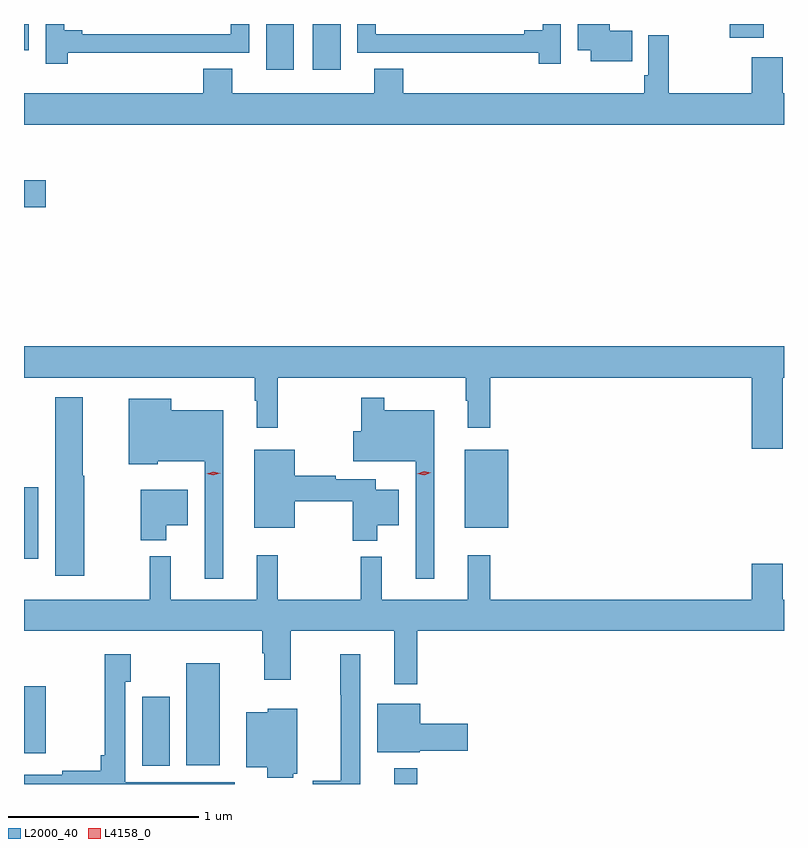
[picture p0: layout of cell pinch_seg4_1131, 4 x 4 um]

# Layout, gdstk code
import gdstk
lib = gdstk.Library(unit=1e-6, precision=1e-09)
def R(c, l, rs):  # rectangles x0, y0, x1, y1
    for r in rs: c.add(gdstk.rectangle(r[:2], r[2:], *l))
def P(c, l, *ps):  # polygons
    for p in ps: c.add(gdstk.Polygon(p, *l))
L2000_40 = (2000, 40)
L4158_0 = (4158, 0)

pinch_seg4_1131 = lib.new_cell('pinch_seg4_1131')
R(pinch_seg4_1131, L2000_40, [(486.803,773.369,486.925,773.452), (485.477,773.464,485.62,773.827), (485.708,773.468,485.884,774.004), (484.854,773.531,484.968,773.884), (484.854,774.555,484.929,774.931), (487.175,774.719,487.402,775.129), (484.854,776.405,484.969,776.547), (486.128,777.129,486.274,777.369), (486.374,777.129,486.52,777.369), (484.854,777.23,484.879,777.369), (488.569,777.297,488.747,777.369)])
P(pinch_seg4_1131, L2000_40, [(488.054,777.334),(487.936,777.334),(487.936,777.369),(487.769,777.369),(487.769,777.23),(487.838,777.23),(487.838,777.173),(488.054,777.173)],
  [(487.68,777.369),(487.583,777.369),(487.583,777.335),(487.487,777.335),(487.487,777.315),(486.705,777.315),(486.705,777.369),(486.609,777.369),(486.609,777.219),(486.934,777.219),(486.934,777.218),(487.564,777.218),(487.564,777.159),(487.68,777.159)],
  [(485.084,777.218),(485.714,777.218),(485.714,777.219),(486.039,777.219),(486.039,777.369),(485.943,777.369),(485.943,777.315),(485.161,777.315),(485.161,777.335),(485.066,777.335),(485.066,777.369),(484.968,777.369),(484.968,777.159),(485.084,777.159)],
  [(488.854,777.004),(488.848,777.004),(488.848,777.193),(488.684,777.193),(488.684,777.004),(488.248,777.004),(488.248,777.31),(488.139,777.31),(488.139,777.1),(488.119,777.1),(488.119,777.004),(486.851,777.004),(486.851,777.134),(486.698,777.134),(486.698,777.004),(485.95,777.004),(485.95,777.134),(485.798,777.134),(485.798,777.004),(484.854,777.004),(484.854,776.84),(488.854,776.84)],
  [(488.848,775.508),(488.854,775.508),(488.854,775.672),(484.854,775.672),(484.854,775.508),(486.069,775.508),(486.069,775.385),(486.08,775.385),(486.08,775.245),(486.19,775.245),(486.19,775.508),(487.179,775.508),(487.179,775.385),(487.19,775.385),(487.19,775.245),(487.307,775.245),(487.307,775.508),(488.684,775.508),(488.684,775.134),(488.848,775.134)],
  [(485.172,774.992),(485.164,774.992),(485.164,775.405),(485.018,775.405),(485.018,774.465),(485.172,774.465)],
  [(487.012,775.336),(486.751,775.336),(486.751,775.402),(486.63,775.402),(486.63,775.225),(486.588,775.225),(486.588,775.067),(486.915,775.067),(486.915,774.45),(487.012,774.45)],
  [(485.902,775.336),(485.629,775.336),(485.629,775.396),(485.405,775.396),(485.405,775.052),(485.559,775.052),(485.559,775.067),(485.805,775.067),(485.805,774.45),(485.902,774.45)],
  [(486.712,774.731),(486.826,774.731),(486.826,774.919),(486.706,774.919),(486.706,774.972),(486.494,774.972),(486.494,774.992),(486.28,774.992),(486.28,775.129),(486.065,775.129),(486.065,774.719),(486.28,774.719),(486.28,774.856),(486.583,774.856),(486.583,774.65),(486.712,774.65)],
  [(485.602,774.731),(485.716,774.731),(485.716,774.919),(485.468,774.919),(485.468,774.653),(485.602,774.653)],
  [(485.517,774.568),(485.517,774.34),(484.854,774.34),(484.854,774.176),(486.107,774.176),(486.107,774.056),(486.119,774.056),(486.119,773.919),(486.259,773.919),(486.259,774.176),(486.803,774.176),(486.803,773.895),(486.925,773.895),(486.925,774.176),(488.854,774.176),(488.854,774.34),(488.848,774.34),(488.848,774.529),(488.684,774.529),(488.684,774.34),(487.307,774.34),(487.307,774.574),(487.19,774.574),(487.19,774.34),(486.737,774.34),(486.737,774.565),(486.627,774.565),(486.627,774.34),(486.19,774.34),(486.19,774.574),(486.08,774.574),(486.08,774.34),(485.627,774.34),(485.627,774.568)],
  [(486.625,774.052),(486.519,774.052),(486.519,773.839),(486.521,773.839),(486.521,773.386),(486.374,773.386),(486.374,773.369),(486.625,773.369)],
  [(485.962,773.379),(485.388,773.379),(485.388,773.907),(485.415,773.907),(485.415,774.052),(485.28,774.052),(485.28,773.521),(485.258,773.521),(485.258,773.438),(485.056,773.438),(485.056,773.418),(484.854,773.418),(484.854,773.369),(485.962,773.369)],
  [(486.936,773.543),(487.189,773.543),(487.189,773.685),(486.94,773.685),(486.94,773.791),(486.713,773.791),(486.713,773.537),(486.936,773.537)],
  [(486.27,773.424),(486.292,773.424),(486.292,773.764),(486.138,773.764),(486.138,773.746),(486.023,773.746),(486.023,773.456),(486.134,773.456),(486.134,773.402),(486.27,773.402)])
P(pinch_seg4_1131, L4158_0, [(486.961,774.994),(486.925,775.002),(486.925,775.002),(486.925,775.003),(486.96,775.014),(486.996,775.007),(486.996,775.006),(486.996,775.006)],
  [(485.851,774.993),(485.815,775.001),(485.815,775.001),(485.815,775.002),(485.85,775.013),(485.887,775.005),(485.887,775.005),(485.887,775.004)])

lib.write_gds('pinch_seg4_1131.gds')
